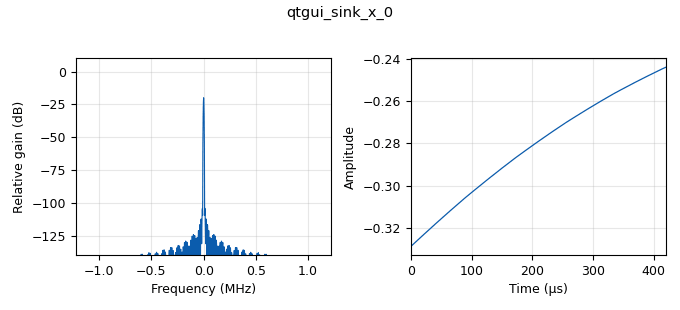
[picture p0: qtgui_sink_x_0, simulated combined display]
options:
  parameters:
    author: manuel
    generate_options: qt_gui
    id: pregunta_03
    output_language: python
    title: ​lab_01_pregunta_03
  states: {}

blocks:
- name: freq
  id: variable
  parameters:
    value: '19300'
  states: {}
- name: samp_rate
  id: variable
  parameters:
    value: '2440000'
  states: {}
- name: analog_sig_source_x_0
  id: analog_sig_source_x
  parameters:
    amp: '1'
    freq: freq
    offset: '0'
    phase: '0'
    samp_rate: samp_rate
    type: float
    waveform: analog.GR_COS_WAVE
  states: {}
- name: analog_sig_source_x_0_0
  id: analog_sig_source_x
  parameters:
    amp: '1'
    freq: freq/3
    offset: '0'
    phase: '0'
    samp_rate: samp_rate
    type: float
    waveform: analog.GR_COS_WAVE
  states: {}
- name: analog_sig_source_x_0_0_0
  id: analog_sig_source_x
  parameters:
    amp: '1'
    freq: freq/5
    offset: '0'
    phase: '0'
    samp_rate: samp_rate
    type: float
    waveform: analog.GR_COS_WAVE
  states: {}
- name: blocks_add_xx_0
  id: blocks_add_xx
  parameters:
    num_inputs: '3'
    type: float
  states: {}
- name: blocks_throttle_0
  id: blocks_throttle
  parameters:
    samples_per_second: samp_rate
    type: float
  states: {}
- name: qtgui_sink_x_0
  id: qtgui_sink_x
  parameters:
    bw: samp_rate
    fc: '0'
    fftsize: '1024'
    type: float
    wintype: firdes.WIN_BLACKMAN_hARRIS
  states: {}
- name: rational_resampler_xxx_0
  id: rational_resampler_xxx
  parameters:
    decim: '1'
    interp: '200'
    taps: ''
    type: fff
  states: {}

connections:
- [analog_sig_source_x_0, '0', blocks_add_xx_0, '0']
- [analog_sig_source_x_0_0, '0', blocks_add_xx_0, '1']
- [analog_sig_source_x_0_0_0, '0', blocks_add_xx_0, '2']
- [blocks_add_xx_0, '0', rational_resampler_xxx_0, '0']
- [blocks_throttle_0, '0', qtgui_sink_x_0, '0']
- [rational_resampler_xxx_0, '0', blocks_throttle_0, '0']

metadata:
  file_format: 1
